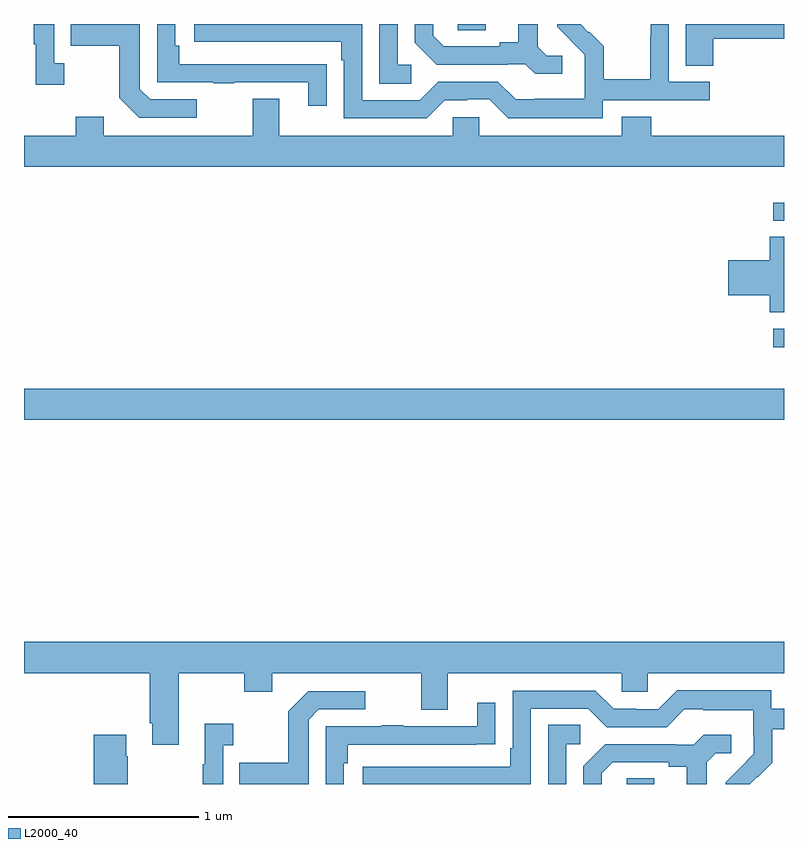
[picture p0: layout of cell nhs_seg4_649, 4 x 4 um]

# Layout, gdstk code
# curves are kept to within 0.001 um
import gdstk
lib = gdstk.Library(unit=1e-6, precision=1e-09)
def R(c, l, rs):  # rectangles x0, y0, x1, y1
    for r in rs: c.add(gdstk.rectangle(r[:2], r[2:], *l))
def P(c, l, *ps):  # polygons
    for p in ps: c.add(gdstk.Polygon(p, *l))
L2000_40 = (2000, 40)

nhs_seg4_649 = lib.new_cell('nhs_seg4_649')
R(nhs_seg4_649, L2000_40, [(146.172,798.9,146.317,798.929), (143,800.816,147,800.98), (146.943,801.199,147,801.297), (146.943,801.864,147,801.96), (145.284,802.867,145.429,802.9)])
P(nhs_seg4_649, L2000_40, [(146.627,802.823),(147,802.823),(147,802.9),(146.483,802.9),(146.483,802.681),(146.627,802.681)],
  [(144.593,802.688),(144.491,802.688),(144.491,802.689),(143.816,802.689),(143.816,802.786),(143.796,802.786),(143.796,802.9),(143.7,802.9),(143.7,802.593),(143.995,802.593),(143.995,802.588),(144.107,802.588),(144.107,802.593),(144.497,802.593),(144.497,802.47),(144.593,802.47)],
  [(145.834,802.734),(145.752,802.734),(145.705,802.781),(145.705,802.9),(145.601,802.9),(145.601,802.805),(145.505,802.805),(145.505,802.782),(145.21,802.782),(145.153,802.839),(145.153,802.9),(145.056,802.9),(145.056,802.802),(145.172,802.686),(145.544,802.686),(145.544,802.689),(145.638,802.689),(145.69,802.637),(145.834,802.637)],
  [(143.908,802.503),(143.664,802.503),(143.61,802.557),(143.61,802.9),(143.245,802.9),(143.245,802.786),(143.502,802.786),(143.502,802.513),(143.607,802.407),(143.908,802.407)],
  [(145.039,802.686),(144.966,802.686),(144.966,802.9),(144.87,802.9),(144.87,802.585),(145.039,802.585)],
  [(146.046,802.5),(146.608,802.5),(146.608,802.596),(146.394,802.596),(146.394,802.9),(146.298,802.9),(146.298,802.832),(146.296,802.832),(146.296,802.609),(146.051,802.609),(146.051,802.783),(145.974,802.86),(145.971,802.857),(145.929,802.9),(145.806,802.9),(145.806,802.886),(145.952,802.738),(145.952,802.641),(145.95,802.641),(145.95,802.507),(145.687,802.507),(145.687,802.503),(145.587,802.503),(145.494,802.596),(145.179,802.596),(145.083,802.5),(144.78,802.5),(144.78,802.9),(143.895,802.9),(143.895,802.806),(144.671,802.806),(144.671,802.709),(144.684,802.709),(144.684,802.404),(145.119,802.404),(145.215,802.5),(145.334,802.5),(145.334,802.503),(145.449,802.503),(145.549,802.403),(146.046,802.403)],
  [(143.212,802.694),(143.16,802.694),(143.16,802.9),(143.052,802.9),(143.052,802.793),(143.063,802.793),(143.063,802.581),(143.212,802.581)],
  [(147,802.312),(146.3,802.312),(146.3,802.411),(146.147,802.411),(146.147,802.312),(145.395,802.312),(145.395,802.41),(145.257,802.41),(145.257,802.312),(144.343,802.312),(144.343,802.507),(144.203,802.507),(144.203,802.312),(143.419,802.312),(143.419,802.411),(143.272,802.411),(143.272,802.312),(143,802.312),(143,802.148),(147,802.148)],
  [(147,801.779),(146.924,801.779),(146.924,801.656),(146.706,801.656),(146.706,801.473),(146.924,801.473),(146.924,801.382),(147,801.382)],
  [(143.815,799.484),(144.16,799.484),(144.16,799.385),(144.307,799.385),(144.307,799.484),(145.091,799.484),(145.091,799.29),(145.231,799.29),(145.231,799.484),(146.145,799.484),(146.145,799.386),(146.283,799.386),(146.283,799.484),(147,799.484),(147,799.648),(143,799.648),(143,799.484),(143.663,799.484),(143.663,799.219),(143.675,799.219),(143.675,799.107),(143.815,799.107)],
  [(145.668,799.296),(145.971,799.296),(146.067,799.2),(146.382,799.2),(146.475,799.293),(146.575,799.293),(146.575,799.289),(146.838,799.289),(146.838,799.155),(146.84,799.155),(146.84,799.058),(146.694,798.91),(146.694,798.9),(146.82,798.9),(146.859,798.939),(146.862,798.936),(146.939,799.013),(146.939,799.188),(147,799.188),(147,799.296),(146.934,799.296),(146.934,799.393),(146.437,799.393),(146.337,799.293),(146.222,799.293),(146.222,799.296),(146.103,799.296),(146.007,799.392),(145.572,799.392),(145.572,799.087),(145.559,799.087),(145.559,798.99),(144.783,798.99),(144.783,798.9),(145.668,798.9)],
  [(144.498,799.239),(144.552,799.293),(144.796,799.293),(144.796,799.389),(144.495,799.389),(144.39,799.283),(144.39,799.011),(144.133,799.011),(144.133,798.9),(144.498,798.9)],
  [(144.684,799.01),(144.704,799.01),(144.704,799.107),(145.379,799.107),(145.379,799.108),(145.481,799.108),(145.481,799.327),(145.385,799.327),(145.385,799.203),(144.995,799.203),(144.995,799.208),(144.883,799.208),(144.883,799.203),(144.588,799.203),(144.588,798.9),(144.684,798.9)],
  [(144.048,799.103),(144.1,799.103),(144.1,799.216),(143.951,799.216),(143.951,799.003),(143.94,799.003),(143.94,798.9),(144.048,798.9)],
  [(145.854,799.11),(145.927,799.11),(145.927,799.211),(145.758,799.211),(145.758,798.9),(145.854,798.9)],
  [(146.041,798.957),(146.098,799.014),(146.393,799.014),(146.393,798.992),(146.489,798.992),(146.489,798.9),(146.593,798.9),(146.593,799.015),(146.64,799.062),(146.722,799.062),(146.722,799.159),(146.578,799.159),(146.526,799.107),(146.432,799.107),(146.432,799.11),(146.06,799.11),(145.944,798.994),(145.944,798.9),(146.041,798.9)],
  [(143.547,799.046),(143.539,799.046),(143.539,799.159),(143.366,799.159),(143.366,798.9),(143.547,798.9)])

lib.write_gds('nhs_seg4_649.gds')
